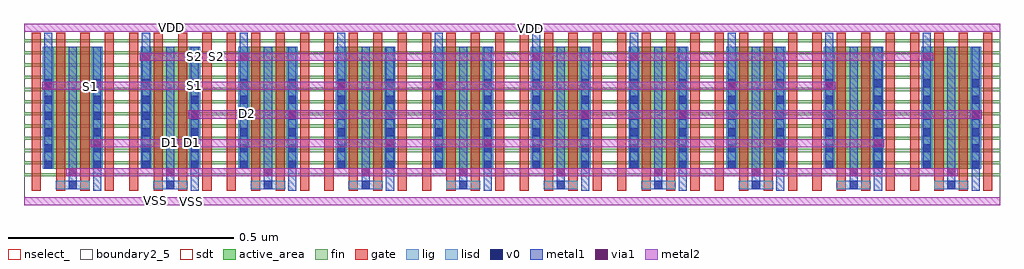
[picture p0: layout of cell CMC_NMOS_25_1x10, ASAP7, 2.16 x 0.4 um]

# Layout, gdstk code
import gdstk
lib = gdstk.Library(unit=1e-6, precision=2.5e-10)
def R(c, l, rs):  # rectangles x0, y0, x1, y1
    for r in rs: c.add(gdstk.rectangle(r[:2], r[2:], *l))
def A(c, l, x, y, w, h, nx, ny, dx, dy):  # array of equal rectangles
    R(c, l, [(x+i*dx, y+j*dy, x+i*dx+w, y+j*dy+h) for i in range(nx) for j in range(ny)])
fin = (2, 0)
gate = (7, 0)
active_area = (11, 0)
nselect_ = (12, 0)
lig = (16, 0)
lisd = (17, 0)
v0 = (18, 0)
metal1 = (19, 0)
metal2 = (20, 0)
via1 = (21, 0)
sdt = (88, 0)
boundary2_5 = (235, 5)

m2_m1_cdns_543798238350 = lib.new_cell('M2_M1_CDNS_543798238350')
R(m2_m1_cdns_543798238350, metal1, [(-0.009,-0.014,0.009,0.014)])
R(m2_m1_cdns_543798238350, metal2, [(-0.014,-0.009,0.014,0.009)])
R(m2_m1_cdns_543798238350, via1, [(-0.009,-0.009,0.009,0.009)])

cmc_nmos_25_1x10 = lib.new_cell('CMC_NMOS_25_1x10')
A(cmc_nmos_25_1x10, fin, 0, 0.064, 0.216, 0.007, 10, 9, 0.216, 0.027)
A(cmc_nmos_25_1x10, fin, 0, 0.361, 0.216, 0.007, 10, 1, 0.216, 0)
R(cmc_nmos_25_1x10, fin, [(0,0.307,0.216,0.314), (0,0.307,0.216,0.314), (0.216,0.307,0.432,0.314), (0.216,0.307,0.432,0.314), (0.432,0.307,0.648,0.314), (0.432,0.307,0.648,0.314), (0.648,0.307,0.864,0.314), (0.648,0.307,0.864,0.314), (0.864,0.307,1.08,0.314), (0.864,0.307,1.08,0.314), (1.08,0.307,1.296,0.314), (1.08,0.307,1.296,0.314), (1.296,0.307,1.512,0.314), (1.296,0.307,1.512,0.314), (1.512,0.307,1.728,0.314), (1.512,0.307,1.728,0.314), (1.728,0.307,1.944,0.314), (1.728,0.307,1.944,0.314), (1.944,0.307,2.16,0.314), (1.944,0.307,2.16,0.314), (0,0.334,0.216,0.341), (0,0.334,0.216,0.341), (0.216,0.334,0.432,0.341), (0.216,0.334,0.432,0.341), (0.432,0.334,0.648,0.341), (0.432,0.334,0.648,0.341), (0.648,0.334,0.864,0.341), (0.648,0.334,0.864,0.341), (0.864,0.334,1.08,0.341), (0.864,0.334,1.08,0.341), (1.08,0.334,1.296,0.341), (1.08,0.334,1.296,0.341), (1.296,0.334,1.512,0.341), (1.296,0.334,1.512,0.341), (1.512,0.334,1.728,0.341), (1.512,0.334,1.728,0.341), (1.728,0.334,1.944,0.341), (1.728,0.334,1.944,0.341), (1.944,0.334,2.16,0.341), (1.944,0.334,2.16,0.341)])
A(cmc_nmos_25_1x10, gate, 0.017, 0.032, 0.02, 0.35, 40, 1, 0.054, 0)
A(cmc_nmos_25_1x10, active_area, 0.046, 0.081, 0.124, 0.27, 10, 1, 0.216, 0)
A(cmc_nmos_25_1x10, nselect_, 0, 0, 0.216, 0.402, 10, 1, 0.216, 0)
A(cmc_nmos_25_1x10, lig, 0.07, 0.036, 0.076, 0.018, 10, 1, 0.216, 0)
A(cmc_nmos_25_1x10, lisd, 0.042, 0.081, 0.024, 0.27, 20, 1, 0.108, 0)
A(cmc_nmos_25_1x10, v0, 0.099, 0.036, 0.018, 0.018, 10, 1, 0.216, 0)
A(cmc_nmos_25_1x10, v0, 0.045, 0.081, 0.018, 0.018, 20, 6, 0.108, 0.036)
A(cmc_nmos_25_1x10, metal1, 0.153, 0.032, 0.018, 0.319, 10, 1, 0.216, 0)
A(cmc_nmos_25_1x10, metal1, 0.099, 0.036, 0.018, 0.315, 10, 1, 0.216, 0)
A(cmc_nmos_25_1x10, metal1, 0.045, 0.081, 0.018, 0.301, 10, 1, 0.216, 0)
A(cmc_nmos_25_1x10, metal1, 0.153, 0.123, 0.018, 0.028, 3, 1, 0.864, 0)
R(cmc_nmos_25_1x10, metal2, [(0,0,2.16,0.018), (0,0,2.16,0.018), (0.094,0.064,2.066,0.082), (0.094,0.064,2.066,0.082), (0.148,0.128,0.176,0.146), (0.148,0.128,1.904,0.146), (0.148,0.128,1.904,0.146), (1.876,0.128,1.904,0.146), (0.364,0.192,2.12,0.21), (0.364,0.192,2.12,0.21), (0.04,0.256,1.796,0.274), (0.04,0.256,1.796,0.274), (0.256,0.32,2.012,0.338), (0.256,0.32,2.012,0.338), (0,0.384,2.16,0.402), (0,0.384,2.16,0.402)])
A(cmc_nmos_25_1x10, via1, 0.153, 0.128, 0.018, 0.018, 3, 1, 0.864, 0)
A(cmc_nmos_25_1x10, sdt, 0.042, 0.081, 0.024, 0.27, 20, 1, 0.108, 0)
R(cmc_nmos_25_1x10, boundary2_5, [(0,0,2.16,0.402)])
cmc_nmos_25_1x10.add(gdstk.Reference(m2_m1_cdns_543798238350, (2.106,0.201)))
cmc_nmos_25_1x10.add(gdstk.Reference(m2_m1_cdns_543798238350, (2.052,0.073), x_reflection=True))
cmc_nmos_25_1x10.add(gdstk.Reference(m2_m1_cdns_543798238350, (1.998,0.329)))
cmc_nmos_25_1x10.add(gdstk.Reference(m2_m1_cdns_543798238350, (1.836,0.073), x_reflection=True))
cmc_nmos_25_1x10.add(gdstk.Reference(m2_m1_cdns_543798238350, (1.782,0.265)))
cmc_nmos_25_1x10.add(gdstk.Reference(m2_m1_cdns_543798238350, (1.674,0.137)))
cmc_nmos_25_1x10.add(gdstk.Reference(m2_m1_cdns_543798238350, (1.62,0.073), x_reflection=True))
cmc_nmos_25_1x10.add(gdstk.Reference(m2_m1_cdns_543798238350, (1.566,0.265)))
cmc_nmos_25_1x10.add(gdstk.Reference(m2_m1_cdns_543798238350, (1.458,0.201)))
cmc_nmos_25_1x10.add(gdstk.Reference(m2_m1_cdns_543798238350, (1.404,0.073), x_reflection=True))
cmc_nmos_25_1x10.add(gdstk.Reference(m2_m1_cdns_543798238350, (1.35,0.329)))
cmc_nmos_25_1x10.add(gdstk.Reference(m2_m1_cdns_543798238350, (1.242,0.201)))
cmc_nmos_25_1x10.add(gdstk.Reference(m2_m1_cdns_543798238350, (1.188,0.073), x_reflection=True))
cmc_nmos_25_1x10.add(gdstk.Reference(m2_m1_cdns_543798238350, (1.134,0.329)))
cmc_nmos_25_1x10.add(gdstk.Reference(m2_m1_cdns_543798238350, (0.972,0.073), x_reflection=True))
cmc_nmos_25_1x10.add(gdstk.Reference(m2_m1_cdns_543798238350, (0.918,0.265)))
cmc_nmos_25_1x10.add(gdstk.Reference(m2_m1_cdns_543798238350, (0.486,0.329)))
cmc_nmos_25_1x10.add(gdstk.Reference(m2_m1_cdns_543798238350, (0.27,0.329)))
cmc_nmos_25_1x10.add(gdstk.Reference(m2_m1_cdns_543798238350, (0.378,0.201)))
cmc_nmos_25_1x10.add(gdstk.Reference(m2_m1_cdns_543798238350, (0.108,0.073), x_reflection=True))
cmc_nmos_25_1x10.add(gdstk.Reference(m2_m1_cdns_543798238350, (0.324,0.073), x_reflection=True))
cmc_nmos_25_1x10.add(gdstk.Reference(m2_m1_cdns_543798238350, (0.54,0.073), x_reflection=True))
cmc_nmos_25_1x10.add(gdstk.Reference(m2_m1_cdns_543798238350, (0.756,0.073), x_reflection=True))
cmc_nmos_25_1x10.add(gdstk.Reference(m2_m1_cdns_543798238350, (0.054,0.265)))
cmc_nmos_25_1x10.add(gdstk.Reference(m2_m1_cdns_543798238350, (0.702,0.265)))
cmc_nmos_25_1x10.add(gdstk.Reference(m2_m1_cdns_543798238350, (0.81,0.137)))
cmc_nmos_25_1x10.add(gdstk.Reference(m2_m1_cdns_543798238350, (0.594,0.201)))
cmc_nmos_25_1x10.add(gdstk.Label('VDD', (1.121,0.391), layer=20, texttype=0))
cmc_nmos_25_1x10.add(gdstk.Label('VSS', (0.37,0.009), layer=20, texttype=0))
cmc_nmos_25_1x10.add(gdstk.Label('S2', (0.425,0.329), layer=20, texttype=0))
cmc_nmos_25_1x10.add(gdstk.Label('D2', (0.495,0.203), layer=20, texttype=0))
cmc_nmos_25_1x10.add(gdstk.Label('D1', (0.372,0.138), layer=20, texttype=0))
cmc_nmos_25_1x10.add(gdstk.Label('VSS', (0.292,0.01), layer=20, texttype=0))
cmc_nmos_25_1x10.add(gdstk.Label('D2', (0.486,0.201), layer=20, texttype=0))
cmc_nmos_25_1x10.add(gdstk.Label('S1', (0.378,0.265), layer=20, texttype=0))
cmc_nmos_25_1x10.add(gdstk.Label('D1', (0.324,0.138), layer=20, texttype=0))
cmc_nmos_25_1x10.add(gdstk.Label('S2', (0.378,0.329), layer=20, texttype=0))
cmc_nmos_25_1x10.add(gdstk.Label('VDD', (0.326,0.394), layer=20, texttype=0))
cmc_nmos_25_1x10.add(gdstk.Label('S1', (0.147,0.264), layer=20, texttype=0))

lib.write_gds('CMC_NMOS_25_1x10.gds')
